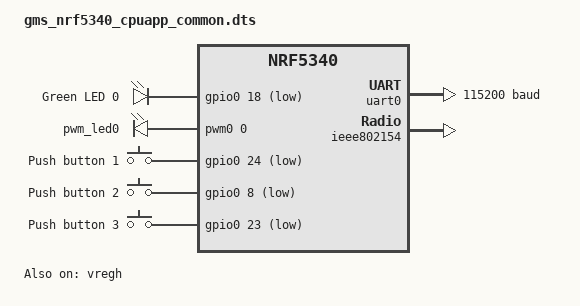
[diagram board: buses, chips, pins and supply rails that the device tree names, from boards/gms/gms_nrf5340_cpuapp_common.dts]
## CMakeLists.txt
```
#
# Copyright (c) 2018 Nordic Semiconductor
#
# SPDX-License-Identifier: LicenseRef-Nordic-5-Clause
#

cmake_minimum_required(VERSION 3.20.0)

set(BOARD_ROOT ${CMAKE_CURRENT_SOURCE_DIR})
set(BOARD gms/nrf5340/cpuapp)

find_package(Zephyr REQUIRED HINTS $ENV{ZEPHYR_BASE})

# ---- NCS v3.0.0 강제 ----
if(NOT DEFINED NCS_VERSION)
  message(FATAL_ERROR "nRF Connect SDK 환경이 감지되지 않았습니다. "
                      "이 프로젝트는 NCS v3.0.0 워크스페이스에서 빌드해야 합니다.")
endif()

if(NOT NCS_VERSION VERSION_EQUAL "3.0.0")
  message(FATAL_ERROR "이 프로젝트는 NCS v3.0.0 전용입니다. "
                      "현재 감지된 버전: v${NCS_VERSION} (NRF_DIR: ${NRF_DIR})")
endif()
message(STATUS "NCS 버전 확인 완료: v${NCS_VERSION}")
# -------------------------

project(GMS_EEG)

# NORDIC SDK APP START
target_sources(app PRIVATE src/main.c)
# NORDIC SDK APP END
```

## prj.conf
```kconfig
#
# Copyright (c) 2018 Nordic Semiconductor
#
# SPDX-License-Identifier: LicenseRef-Nordic-5-Clause
#

# Enable the UART driver
CONFIG_UART_ASYNC_API=y
CONFIG_NRFX_UARTE0=y
CONFIG_SERIAL=y

CONFIG_GPIO=y

# Make sure printk is printing to the UART console
CONFIG_CONSOLE=y
CONFIG_UART_CONSOLE=y

CONFIG_HEAP_MEM_POOL_SIZE=4096

CONFIG_BT=y
CONFIG_BT_PERIPHERAL=y
CONFIG_BT_DEVICE_NAME="HHS_10001"
CONFIG_BT_MAX_CONN=1
CONFIG_BT_MAX_PAIRED=1

# Custom HHS GATT service (NUS 미사용)
# BT_NUS_SECURITY_ENABLED는 프로젝트 Kconfig 심볼(BT_SMP 선택 여부)
CONFIG_BT_NUS_SECURITY_ENABLED=n

# Enable bonding
CONFIG_BT_SETTINGS=y
CONFIG_FLASH=y
CONFIG_FLASH_PAGE_LAYOUT=y
CONFIG_FLASH_MAP=y

# Enable DK LED and Buttons library
CONFIG_DK_LIBRARY=y

# This example requires more stack
CONFIG_MAIN_STACK_SIZE=1152
CONFIG_SYSTEM_WORKQUEUE_STACK_SIZE=2048

# Config logger
CONFIG_LOG=y
CONFIG_USE_SEGGER_RTT=y
CONFIG_LOG_BACKEND_RTT=y
CONFIG_LOG_BACKEND_UART=n
CONFIG_LOG_PRINTK=n

CONFIG_ASSERT=y
CONFIG_BT_ASSERT=y
CONFIG_NFCT_PINS_AS_GPIOS=y
CONFIG_BT_NUS_UART_BUFFER_SIZE=128
# UART RX 유휴 타임아웃(us): 패킷 수신 후 지연 없이 이벤트 발생하도록 짧게
CONFIG_BT_NUS_UART_RX_WAIT_TIME=1000

CONFIG_FPU=y

# MTU/데이터 길이 키우기(상대도 지원해야 실제로 커짐)
# 컨트롤러(netcore) 쪽 DLE는 sysbuild/ipc_radio.conf에서 설정
CONFIG_BT_GATT_CLIENT=y
CONFIG_BT_USER_DATA_LEN_UPDATE=y
CONFIG_BT_BUF_ACL_RX_SIZE=251
CONFIG_BT_BUF_ACL_TX_SIZE=251
CONFIG_BT_L2CAP_TX_MTU=247

# GATT cache invalidation
CONFIG_BT_GATT_SERVICE_CHANGED=y

# 256 pkt/s 스트리밍: 짧은 연결 간격 선호값(7.5~15ms) 요청
# (수락 여부는 central 몫 — Android는 대체로 수락, iOS는 15ms 수준)
CONFIG_BT_PERIPHERAL_PREF_MIN_INT=6
CONFIG_BT_PERIPHERAL_PREF_MAX_INT=12
CONFIG_BT_PERIPHERAL_PREF_LATENCY=0
CONFIG_BT_PERIPHERAL_PREF_TIMEOUT=400

# notify TX 경로 큐 증설: connection event당 8개 이상 전송 가능해야
# 256 pkt/s(30ms 간격 기준 ~8개/event)를 유실 없이 소화
CONFIG_BT_CONN_TX_MAX=10
CONFIG_BT_L2CAP_TX_BUF_COUNT=10
CONFIG_BT_ATT_TX_COUNT=10
CONFIG_BT_BUF_ACL_TX_COUNT=10
```

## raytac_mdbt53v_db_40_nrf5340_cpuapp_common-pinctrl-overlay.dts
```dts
/dts-v1/;
/plugin/;

/ {
  compatible = "raytac,gms-nrf5340-cpuapp";

  &pinctrl {
    uart0_default: uart0_default {
      group1 {
        psels = <NRF_PSEL(UART_TX, 1, 2)>,
                <NRF_PSEL(UART_RX, 0, 3)>,
      };
    };

	uart0_sleep: uart0_sleep {
		group1 {
        psels = <NRF_PSEL(UART_TX, 1, 2)>,
                <NRF_PSEL(UART_RX, 0, 3)>,
			low-power-enable;
		};
	};

    /* 다른 pinctrl 그룹들... */
  };

  /* 필요한 경우 다른 노드들... */
};
```

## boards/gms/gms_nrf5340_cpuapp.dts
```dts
/*
 * Copyright (c) 2023 Raytac Corporation
 *
 * SPDX-License-Identifier: Apache-2.0
 */

/dts-v1/;
#include <nordic/nrf5340_cpuapp_qkaa.dtsi>
#include "gms_nrf5340_cpuapp_common.dts"

/ {
	model = "Raytac MDBT53V-DB-40 NRF5340 Application";
	compatible = "raytac,raytac-mdbt53v-db-40-nrf5340-cpuapp";

	chosen {
		zephyr,sram = &sram0_image;
		zephyr,flash = &flash0;
		zephyr,code-partition = &slot0_partition;
		zephyr,sram-secure-partition = &sram0_s;
		zephyr,sram-non-secure-partition = &sram0_ns;
	};
};
```

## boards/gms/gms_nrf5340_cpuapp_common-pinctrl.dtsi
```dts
/*
 * Copyright (c) 2023 Raytac Corporation
 *
 * SPDX-License-Identifier: Apache-2.0
 */

&pinctrl {
	uart0_default: uart0_default {
		group1 {
			psels = <NRF_PSEL(UART_TX, 1, 2)>,
				<NRF_PSEL(UART_RX, 0, 3)>;
		};
	};

	uart0_sleep: uart0_sleep {
		group1 {
			psels = <NRF_PSEL(UART_TX, 1, 2)>,
				<NRF_PSEL(UART_RX, 0, 3)>;
			low-power-enable;
		};
	};

	pwm0_default: pwm0_default {
		group1 {
			psels = <NRF_PSEL(PWM_OUT0, 0, 28)>;
		};
	};

	pwm0_sleep: pwm0_sleep {
		group1 {
			psels = <NRF_PSEL(PWM_OUT0, 0, 28)>;
			low-power-enable;
		};
	};


	spi4_default: spi4_default {
		group1 {
			psels = <NRF_PSEL(SPIM_SCK, 0, 8)>,
				<NRF_PSEL(SPIM_MISO, 0, 10)>,
				<NRF_PSEL(SPIM_MOSI, 0, 9)>;
		};
	};

	spi4_sleep: spi4_sleep {
		group1 {
			psels = <NRF_PSEL(SPIM_SCK, 0, 8)>,
				<NRF_PSEL(SPIM_MISO, 0, 10)>,
				<NRF_PSEL(SPIM_MOSI, 0, 9)>;
			low-power-enable;
		};
	};

};
```

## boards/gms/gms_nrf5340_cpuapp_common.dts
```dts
/*
 * Copyright (c) 2023 Raytac Corporation
 *
 * SPDX-License-Identifier: Apache-2.0
 */
#include "gms_nrf5340_cpuapp_common-pinctrl.dtsi"
#include <zephyr/dt-bindings/input/input-event-codes.h>

/ {

	chosen {
		zephyr,console = &uart0;
		zephyr,shell-uart = &uart0;
		zephyr,uart-mcumgr = &uart0;
		zephyr,bt-mon-uart = &uart0;
		zephyr,bt-c2h-uart = &uart0;
		zephyr,bt-hci = &bt_hci_ipc0;
		nordic,802154-spinel-ipc = &ipc0;
		zephyr,ieee802154 = &ieee802154;
	};

	leds {
		compatible = "gpio-leds";
		led0: led_0 {
			gpios = <&gpio0 18 GPIO_ACTIVE_LOW>;
			label = "Green LED 0";
		};
	};

	pwmleds {
		compatible = "pwm-leds";
		pwm_led0: pwm_led_0 {
			pwms = <&pwm0 0 PWM_MSEC(20) PWM_POLARITY_INVERTED>;
		};
	};

	buttons {
		compatible = "gpio-keys";
		button0: button_0 {
			gpios = <&gpio0 24 (GPIO_PULL_UP | GPIO_ACTIVE_LOW)>;
			label = "Push button 1";
			zephyr,code = <INPUT_KEY_0>;
		};
		button1: button_1 {
			gpios = <&gpio0 8 (GPIO_PULL_UP | GPIO_ACTIVE_LOW)>;
			label = "Push button 2";
			zephyr,code = <INPUT_KEY_1>;
		};
		button2: button_2 {
			gpios = <&gpio0 23 (GPIO_PULL_UP | GPIO_ACTIVE_LOW)>;
			label = "Push button 3";
			zephyr,code = <INPUT_KEY_2>;
		};
	};

	gpio_fwd: nrf-gpio-forwarder {
		compatible = "nordic,nrf-gpio-forwarder";
		status = "okay";
		uart {
			gpios = <&gpio1 1 0>, <&gpio1 0 0>, <&gpio0 11 0>, <&gpio0 10 0>;
		};
	};

	/* These aliases are provided for compatibility with samples */
	aliases {
		led0 = &led0;
		pwm-led0 = &pwm_led0;
		sw0 = &button0;
		sw1 = &button1;
		sw2 = &button2;
		bootloader-led0 = &led0;
		mcuboot-button0 = &button0;
		mcuboot-led0 = &led0;
		watchdog0 = &wdt0;
	};
};

&vregmain {
	regulator-initial-mode = <NRF5X_REG_MODE_DCDC>;
};

&vregradio {
	regulator-initial-mode = <NRF5X_REG_MODE_DCDC>;
};

&vregh {
	status = "okay";
};

&gpiote {
	status = "okay";
};

&gpio0 {
	status = "okay";
};

&gpio1 {
	status = "okay";
};

&uart0 {
	status = "okay";
	current-speed = <115200>;
	pinctrl-0 = <&uart0_default>;
	pinctrl-1 = <&uart0_sleep>;
	pinctrl-names = "default", "sleep";
};

&ieee802154 {
	status = "okay";
};

/* Include default memory partition configuration file */
#include <common/nordic/nrf5340_cpuapp_partition.dtsi>
```

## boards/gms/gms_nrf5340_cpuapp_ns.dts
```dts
/*
 * Copyright (c) 2023 Raytac Corporation
 *
 * SPDX-License-Identifier: Apache-2.0
 */

/dts-v1/;
#include <nordic/nrf5340_cpuappns_qkaa.dtsi>
#include "gms_nrf5340_cpuapp_common.dts"

/ {
	model = "Raytac MDBT53V-DB-40 NRF5340 Application";
	compatible = "raytac,raytac-mdbt53v-db-40-nrf5340-cpuapp";

	chosen {
		zephyr,sram = &sram0_ns_app;
		zephyr,flash = &flash0;
		zephyr,code-partition = &slot0_ns_partition;
	};
};
```

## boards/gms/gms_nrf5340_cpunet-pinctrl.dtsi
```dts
/*
 * Copyright (c) 2023 Raytac Corporation
 *
 * SPDX-License-Identifier: Apache-2.0
 */

&pinctrl {
	uart0_default: uart0_default {
		group1 {
			psels = <NRF_PSEL(UART_TX, 1, 2)>,
				<NRF_PSEL(UART_RX, 0, 3)>;
		};
	};

	uart0_sleep: uart0_sleep {
		group1 {
			psels = <NRF_PSEL(UART_TX, 1, 2)>,
				<NRF_PSEL(UART_RX, 0, 3)>;
			low-power-enable;
		};
	};

};
```

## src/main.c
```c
/*
 * HHS BLE bridge (custom GATT service) + UART + HHS parser
 * - UART 스트림에서 HHS 17바이트 프레임 조립
 *   (헤더 0xA5 0x5A 0x02, 끝 byte Switches 0x04|0x05)
 * - 프레임 완성 즉시 HHS Notify 특성(FFF1)으로 1프레임 = 1 notification 전송
 */

#include <dk_buttons_and_leds.h>
#include <soc.h>
#include <stdint.h>
#include <stdio.h>
#include <string.h>
#include <uart_async_adapter.h>
#include <zephyr/bluetooth/bluetooth.h>
#include <zephyr/bluetooth/gatt.h>
#include <zephyr/bluetooth/hci.h>
#include <zephyr/bluetooth/uuid.h>
#include <zephyr/device.h>
#include <zephyr/devicetree.h>
#include <zephyr/drivers/uart.h>
#include <zephyr/kernel.h>
#include <zephyr/logging/log.h>
#include <zephyr/settings/settings.h>
#include <zephyr/sys/util.h>
#include <zephyr/types.h>
#include <zephyr/usb/usb_device.h>

#define LOG_MODULE_NAME peripheral_uart
LOG_MODULE_REGISTER(LOG_MODULE_NAME);

#define STACKSIZE CONFIG_BT_NUS_THREAD_STACK_SIZE
#define PRIORITY 7

#define DEVICE_NAME CONFIG_BT_DEVICE_NAME
#define DEVICE_NAME_LEN (sizeof(DEVICE_NAME) - 1)

#define RUN_STATUS_LED DK_LED1
#define RUN_LED_BLINK_INTERVAL 1000
#define CON_STATUS_LED DK_LED2

#define UART_BUF_SIZE CONFIG_BT_NUS_UART_BUFFER_SIZE
#define UART_WAIT_FOR_BUF_DELAY K_MSEC(50)
#define UART_WAIT_FOR_RX CONFIG_BT_NUS_UART_RX_WAIT_TIME

/* --- HHS protocol --- */
#define HHS_PKT_SIZE 17

static struct {
    uint8_t buf[HHS_PKT_SIZE];
    uint8_t pos;
    enum { RS_SYNC0, RS_SYNC1, RS_VER, RS_PAYLOAD } st;
} hhs_rx = {.st = RS_SYNC0};

/* 연결 즉시 짧은 연결 간격(7.5~15ms) 요청.
 * BT_GAP_AUTO_UPDATE_CONN_PARAMS의 5초 대기 없이 바로 협상 시도하고,
 * 거절되면 5초 뒤 stack의 auto-update가 같은 선호값으로 재시도한다. */
static void update_conn_params(struct bt_conn *conn) {
    int err = bt_conn_le_param_update(
        conn, BT_LE_CONN_PARAM(CONFIG_BT_PERIPHERAL_PREF_MIN_INT,
                               CONFIG_BT_PERIPHERAL_PREF_MAX_INT,
                               CONFIG_BT_PERIPHERAL_PREF_LATENCY,
                               CONFIG_BT_PERIPHERAL_PREF_TIMEOUT));
    if (err)
        LOG_WRN("conn param update req failed (err %d)", err);
}

/*
 * Function: update_data_length
 * Description: This function updates the data length of the given connection.
 * Parameters:
 * 		conn - pointer to the connection to be updated
 * Return: None
 */
static void update_data_length(struct bt_conn *conn) {
    int err;
    /* Define the data length parameters */
    struct bt_conn_le_data_len_param my_data_len = {
        .tx_max_len = BT_GAP_DATA_LEN_MAX,
        .tx_max_time = BT_GAP_DATA_TIME_MAX,
    };

    /* Update the data length of the connection */
    err = bt_conn_le_data_len_update(conn, &my_data_len);

    /* Check for errors */
    if (err) {
        LOG_ERR("data_len_update failed (err %d)", err);
    }
}

/* Implement callback function for MTU exchange */
static void exchange_func(struct bt_conn *conn, uint8_t att_err,
                          struct bt_gatt_exchange_params *params) {
    // Log the result of the MTU exchange
    LOG_INF("MTU exchange %s", att_err == 0 ? "successful" : "failed");

    // If the exchange was successful, update the MTU size
    if (!att_err) {
        uint16_t payload_mtu =
            bt_gatt_get_mtu(conn) - 3; // 3 bytes used for Attribute headers.
        LOG_INF("New MTU: %d bytes", payload_mtu);
    }
}

/**
 * @brief Update the Maximum Transmission Unit (MTU) for the Bluetooth
 * connection.
 *
 * This function initiates an MTU exchange with a Bluetooth connection. It sets
 * up the callback function for handling MTU negotiation. If the exchange fails,
 * it logs an error message.
 *
 * @param conn The Bluetooth connection to update the MTU for.
 */
static void update_mtu(struct bt_conn *conn) {
    /* Create variable that holds callback for MTU negotiation */
    static struct bt_gatt_exchange_params exchange_params;

    /* Set the callback function for handling MTU negotiation */
    exchange_params.func = exchange_func;

    /* Initiate MTU exchange with the given Bluetooth connection */
    int err = bt_gatt_exchange_mtu(conn, &exchange_params);

    /* Check if the exchange was successful */
    if (err) {
        /* Log an error message if the exchange failed */
        LOG_ERR("bt_gatt_exchange_mtu failed (err %d)", err);
    }
}

typedef void (*hhs_on_frame_t)(const uint8_t *p);
static inline void hhs_feed(uint8_t c, hhs_on_frame_t on_frame) {
    switch (hhs_rx.st) {
    case RS_SYNC0:
        if (c == 0xA5)
            hhs_rx.st = RS_SYNC1;
        break;
    case RS_SYNC1:
        if (c == 0x5A)
            hhs_rx.st = RS_VER;
        else if (c != 0xA5) /* 0xA5면 새 헤더 시작 후보로 SYNC1 유지 */
            hhs_rx.st = RS_SYNC0;
        break;
    case RS_VER:
        if (c == 0x02) {
            hhs_rx.buf[0] = 0xA5;
            hhs_rx.buf[1] = 0x5A;
            hhs_rx.buf[2] = c;
            hhs_rx.pos = 3;
            hhs_rx.st = RS_PAYLOAD;
        } else {
            hhs_rx.st = (c == 0xA5) ? RS_SYNC1 : RS_SYNC0;
        }
        break;
    case RS_PAYLOAD:
        hhs_rx.buf[hhs_rx.pos++] = c;
        if (hhs_rx.pos >= HHS_PKT_SIZE) {
            /* Switches byte: 0x04(No Wear) / 0x05(Wear)만 유효한 프레임 */
            uint8_t sw = hhs_rx.buf[HHS_PKT_SIZE - 1];
            if (sw == 0x04 || sw == 0x05) {
                if (on_frame)
                    on_frame(hhs_rx.buf);
            } else {
                LOG_WRN("frame dropped: bad switches 0x%02x", sw);
            }
            hhs_rx.st = RS_SYNC0;
        }
        break;
    }
}

/* --- HHS GATT service --- */

/** @brief HHS Service UUID. */
#define BT_UUID_HHS_VAL                                                        \
    BT_UUID_128_ENCODE(0x0000FFF0, 0x0000, 0x1000, 0x8000, 0x00805F9B34FB)
/** @brief Notify Characteristic UUID. */
#define BT_UUID_HHS_NOTI_VAL                                                   \
    BT_UUID_128_ENCODE(0x0000FFF1, 0x0000, 0x1000, 0x8000, 0x00805F9B34FB)
/** @brief Write Characteristic UUID. */
#define BT_UUID_HHS_WRITE_VAL                                                  \
    BT_UUID_128_ENCODE(0x0000FFF2, 0x0000, 0x1000, 0x8000, 0x00805F9B34FB)

#define BT_UUID_HHS BT_UUID_DECLARE_128(BT_UUID_HHS_VAL)
#define BT_UUID_HHS_NOTI BT_UUID_DECLARE_128(BT_UUID_HHS_NOTI_VAL)
#define BT_UUID_HHS_WRITE BT_UUID_DECLARE_128(BT_UUID_HHS_WRITE_VAL)

static void hhs_ccc_changed(const struct bt_gatt_attr *attr, uint16_t value) {
    ARG_UNUSED(attr);
    LOG_INF("HHS notifications %s",
            value == BT_GATT_CCC_NOTIFY ? "enabled" : "disabled");
}

/* Write 특성: 현재 수신 데이터는 사용하지 않음 */
static ssize_t hhs_write_cb(struct bt_conn *conn,
                            const struct bt_gatt_attr *attr, const void *buf,
                            uint16_t len, uint16_t offset, uint8_t flags) {
    ARG_UNUSED(conn);
    ARG_UNUSED(attr);
    ARG_UNUSED(offset);
    ARG_UNUSED(flags);
    LOG_HEXDUMP_DBG(buf, len, "HHS write");
    return len;
}

BT_GATT_SERVICE_DEFINE(
    hhs_svc, BT_GATT_PRIMARY_SERVICE(BT_UUID_HHS),
    BT_GATT_CHARACTERISTIC(BT_UUID_HHS_NOTI, BT_GATT_CHRC_NOTIFY,
                           BT_GATT_PERM_NONE, NULL, NULL, NULL),
    BT_GATT_CCC(hhs_ccc_changed, BT_GATT_PERM_READ | BT_GATT_PERM_WRITE),
    BT_GATT_CHARACTERISTIC(BT_UUID_HHS_WRITE,
                           BT_GATT_CHRC_WRITE | BT_GATT_CHRC_WRITE_WITHOUT_RESP,
                           BT_GATT_PERM_WRITE, NULL, hhs_write_cb, NULL));

/* attrs[2] = Notify 특성 값(FFF1). 구독한 모든 연결로 notify */
static int hhs_send(const uint8_t *data, uint16_t len) {
    return bt_gatt_notify(NULL, &hhs_svc.attrs[2], data, len);
}

/* --- BLE / UART glue --- */

static K_SEM_DEFINE(ble_init_ok, 0, 1);
static struct bt_conn *current_conn;

static const struct device *uart = DEVICE_DT_GET(DT_CHOSEN(nordic_nus_uart));
static struct k_work_delayable uart_work;

struct uart_data_t {
    void *fifo_reserved;
    uint8_t data[UART_BUF_SIZE];
    uint16_t len;
};

static K_FIFO_DEFINE(fifo_uart_rx_data);

static const struct bt_data ad[] = {
    BT_DATA_BYTES(BT_DATA_FLAGS, (BT_LE_AD_GENERAL | BT_LE_AD_NO_BREDR)),
    BT_DATA(BT_DATA_NAME_COMPLETE, DEVICE_NAME, DEVICE_NAME_LEN),
};
static const struct bt_data sd[] = {
    BT_DATA_BYTES(BT_DATA_UUID128_ALL, BT_UUID_HHS_VAL)};

/* 광고 시작은 system workqueue에서 수행.
 * disconnect 후 재시작 경로인 recycled 콜백은 ISR에 준하는 컨텍스트라
 * BT API를 직접 호출하면 안 되기 때문(conn.h 주석 참고). */
static void adv_work_handler(struct k_work *work) {
    ARG_UNUSED(work);
    int err = bt_le_adv_start(BT_LE_ADV_CONN_FAST_1, ad, ARRAY_SIZE(ad), sd,
                              ARRAY_SIZE(sd));
    if (err && err != -EALREADY) {
        LOG_ERR("Advertising start err %d", err);
        return;
    }
    LOG_INF("Advertising started");
}
static K_WORK_DEFINE(adv_work, adv_work_handler);

#ifdef CONFIG_UART_ASYNC_ADAPTER
UART_ASYNC_ADAPTER_INST_DEFINE(async_adapter);
#else
#define async_adapter NULL
#endif

/* 프레임 완성 즉시 notify. 17B는 최소 ATT MTU(23)-3 안에 항상 들어가므로
 * 1프레임 = 1 notification이 보장된다. */
static void on_hhs_frame_cb(const uint8_t *p) {
    int ret;

    do {
        ret = hhs_send(p, HHS_PKT_SIZE);
        if (ret == -ENOMEM) /* TX 버퍼 고갈: 잠시 대기 후 재시도 */
            k_sleep(K_MSEC(5));
    } while (ret == -ENOMEM);

    if (ret && ret != -ENOTCONN) /* 미연결/미구독 시엔 조용히 폐기 */
        LOG_WRN("hhs_send err=%d", ret);
}

/* UART 콜백: 라인 종료 문자를 기준으로 끊지 않음. 버퍼 교체 이벤트로만 큐잉 */
static void uart_cb(const struct device *dev, struct uart_event *evt,
                    void *user_data) {
    ARG_UNUSED(dev);
    static size_t aborted_len;
    struct uart_data_t *buf;
    static uint8_t *aborted_buf;

    switch (evt->type) {
    case UART_TX_DONE:
        if ((evt->data.tx.len == 0) || (!evt->data.tx.buf))
            return;
        if (aborted_buf) {
            buf = CONTAINER_OF(aborted_buf, struct uart_data_t, data[0]);
            aborted_buf = NULL;
            aborted_len = 0;
        } else {
            buf = CONTAINER_OF(evt->data.tx.buf, struct uart_data_t, data[0]);
        }
        k_free(buf);
        break;

    case UART_RX_RDY: {
        /* 수신분을 즉시 복사해 큐잉: 드라이버 버퍼가 가득 차길 기다리지
         * 않으므로(타임아웃 단위로 이벤트 발생) 패킷 지연이 없다 */
        struct uart_data_t *chunk = k_malloc(sizeof(*chunk));
        if (!chunk) {
            LOG_WRN("RX_RDY: alloc fail, %d bytes dropped", evt->data.rx.len);
            break;
        }
        chunk->len = MIN(evt->data.rx.len, sizeof(chunk->data));
        memcpy(chunk->data, &evt->data.rx.buf[evt->data.rx.offset], chunk->len);
        k_fifo_put(&fifo_uart_rx_data, chunk);
        break;
    }

    case UART_RX_DISABLED: {
        buf = k_malloc(sizeof(*buf));
        if (!buf) {
            LOG_WRN("RX_DISABLED: alloc fail");
            k_work_reschedule(&uart_work, UART_WAIT_FOR_BUF_DELAY);
            return;
        }
        if (uart_rx_enable(uart, buf->data, sizeof(buf->data),
                           UART_WAIT_FOR_RX)) {
            LOG_WRN("RX_DISABLED: rx_enable fail");
            k_free(buf);
            k_work_reschedule(&uart_work, UART_WAIT_FOR_BUF_DELAY);
        }
        break;
    }

    case UART_RX_BUF_REQUEST:
        buf = k_malloc(sizeof(*buf));
        if (buf) {
            uart_rx_buf_rsp(uart, buf->data, sizeof(buf->data));
        } else {
            LOG_WRN("RX_BUF_REQUEST: alloc fail");
        }
        break;

    case UART_RX_BUF_RELEASED:
        /* 데이터는 RX_RDY에서 이미 큐잉됨. 컨테이너만 반납 */
        buf = CONTAINER_OF(evt->data.rx_buf.buf, struct uart_data_t, data[0]);
        k_free(buf);
        break;

    case UART_TX_ABORTED:
        if (!aborted_buf)
            aborted_buf = (uint8_t *)evt->data.tx.buf;
        aborted_len += evt->data.tx.len;
        buf = CONTAINER_OF((void *)aborted_buf, struct uart_data_t, data);
        uart_tx(uart, &buf->data[aborted_len], buf->len - aborted_len,
                SYS_FOREVER_MS);
        break;

    default:
        break;
    }
}

static void uart_work_handler(struct k_work *item) {
    struct uart_data_t *buf = k_malloc(sizeof(*buf));
    if (!buf) {
        LOG_WRN("uart_work: alloc fail");
        k_work_reschedule(&uart_work, UART_WAIT_FOR_BUF_DELAY);
        return;
    }
    if (uart_rx_enable(uart, buf->data, sizeof(buf->data), UART_WAIT_FOR_RX)) {
        LOG_WRN("uart_work: rx_enable fail");
        k_free(buf);
        k_work_reschedule(&uart_work, UART_WAIT_FOR_BUF_DELAY);
    }
}

static bool uart_test_async_api(const struct device *dev) {
    const struct uart_driver_api *api =
        (const struct uart_driver_api *)dev->api;
    return (api->callback_set != NULL);
}

static int uart_init(void) {
    int err;
    int pos;
    struct uart_data_t *rx;
    struct uart_data_t *tx;

    if (!device_is_ready(uart))
        return -ENODEV;

    if (IS_ENABLED(CONFIG_USB_DEVICE_STACK)) {
        err = usb_enable(NULL);
        if (err && (err != -EALREADY))
            return err;
    }

    rx = k_malloc(sizeof(*rx));
    if (!rx)
        return -ENOMEM;
    rx->len = 0;

    k_work_init_delayable(&uart_work, uart_work_handler);

    if (IS_ENABLED(CONFIG_UART_ASYNC_ADAPTER) && !uart_test_async_api(uart)) {
        uart_async_adapter_init(async_adapter, uart);
        uart = async_adapter;
    }

    err = uart_callback_set(uart, uart_cb, NULL);
    if (err) {
        k_free(rx);
        return err;
    }

    if (IS_ENABLED(CONFIG_UART_LINE_CTRL)) {
        while (true) {
            uint32_t dtr = 0;
            uart_line_ctrl_get(uart, UART_LINE_CTRL_DTR, &dtr);
            if (dtr)
                break;
            k_sleep(K_MSEC(100));
        }
        (void)uart_line_ctrl_set(uart, UART_LINE_CTRL_DCD, 1);
        (void)uart_line_ctrl_set(uart, UART_LINE_CTRL_DSR, 1);
    }

    tx = k_malloc(sizeof(*tx));
    if (!tx) {
        k_free(rx);
        return -ENOMEM;
    }

    pos = snprintf(tx->data, sizeof(tx->data), "Starting HHS parser\r\n");
    if ((pos < 0) || (pos >= sizeof(tx->data))) {
        k_free(rx);
        k_free(tx);
        return -ENOMEM;
    }
    tx->len = pos;

    err = uart_tx(uart, tx->data, tx->len, SYS_FOREVER_MS);
    if (err) {
        k_free(rx);
        k_free(tx);
        return err;
    }

    err = uart_rx_enable(uart, rx->data, sizeof(rx->data), UART_WAIT_FOR_RX);
    if (err) {
        k_free(rx);
    }
    return err;
}

/* --- BLE conn callbacks --- */

static void connected(struct bt_conn *conn, uint8_t err) {
    char addr[BT_ADDR_LE_STR_LEN];
    if (err) {
        LOG_ERR("Connection failed, err 0x%02x %s", err,
                bt_hci_err_to_str(err));
        return;
    }
    bt_addr_le_to_str(bt_conn_get_dst(conn), addr, sizeof(addr));
    LOG_INF("Connected %s", addr);
    current_conn = bt_conn_ref(conn);
    dk_set_led_on(CON_STATUS_LED);

    // Update the connection parameters, data length and MTU
    update_conn_params(conn);
    update_data_length(conn);
    update_mtu(conn);
}

static void disconnected(struct bt_conn *conn, uint8_t reason) {
    char addr[BT_ADDR_LE_STR_LEN];
    bt_addr_le_to_str(bt_conn_get_dst(conn), addr, sizeof(addr));
    LOG_INF("Disconnected: %s, reason 0x%02x %s", addr, reason,
            bt_hci_err_to_str(reason));

    if (current_conn != conn) {
        return;
    }

    bt_conn_unref(current_conn);
    current_conn = NULL;
    dk_set_led_off(CON_STATUS_LED);
}

/* 협상된 연결 파라미터 확인용(interval 단위: 1.25ms, timeout 단위: 10ms) */
static void le_param_updated(struct bt_conn *conn, uint16_t interval,
                             uint16_t latency, uint16_t timeout) {
    ARG_UNUSED(conn);
    LOG_INF("Conn params: interval %u us, latency %u, timeout %u ms",
            interval * 1250, latency, timeout * 10);
}

/* 연결 객체가 풀로 반환된 시점(disconnect 완료) → 광고 재시작.
 * NCS v3.0/Zephyr 4.0부터는 광고가 자동 재개되지 않으므로 필수 */
static void recycled(void) { k_work_submit(&adv_work); }

BT_CONN_CB_DEFINE(conn_callbacks) = {
    .connected = connected,
    .disconnected = disconnected,
    .le_param_updated = le_param_updated,
    .recycled = recycled,
};

void error(void) {
    dk_set_leds_state(DK_ALL_LEDS_MSK, DK_NO_LEDS_MSK);
    while (true) {
        k_sleep(K_MSEC(1000));
    }
}

static void configure_gpio(void) {
    if (dk_leds_init())
        LOG_ERR("LEDs init fail");
}

int main(void) {
    int blink_status = 0;
    int err = 0;

    configure_gpio();

    err = uart_init();
    if (err)
        error();

    err = bt_enable(NULL);
    if (err)
        error();
    LOG_INF("Bluetooth initialized");
    k_sem_give(&ble_init_ok);

    if (IS_ENABLED(CONFIG_SETTINGS))
        settings_load();

    k_work_submit(&adv_work);

    for (;;) {
        dk_set_led(RUN_STATUS_LED, (++blink_status) % 2);
        k_sleep(K_MSEC(RUN_LED_BLINK_INTERVAL));
    }
}

/* BLE 송신 전용 쓰레드: UART FIFO에서 읽어 HHS 파서 투입, 프레임 즉시 전송 */
void ble_write_thread(void) {
    k_sem_take(&ble_init_ok, K_FOREVER);

    for (;;) {
        struct uart_data_t *buf = k_fifo_get(&fifo_uart_rx_data, K_FOREVER);

        for (uint16_t i = 0; i < buf->len; i++) {
            hhs_feed(buf->data[i], on_hhs_frame_cb);
        }

        k_free(buf);
    }
}
K_THREAD_DEFINE(ble_write_thread_id, STACKSIZE, ble_write_thread, NULL, NULL,
                NULL, PRIORITY, 0, 0);
```
